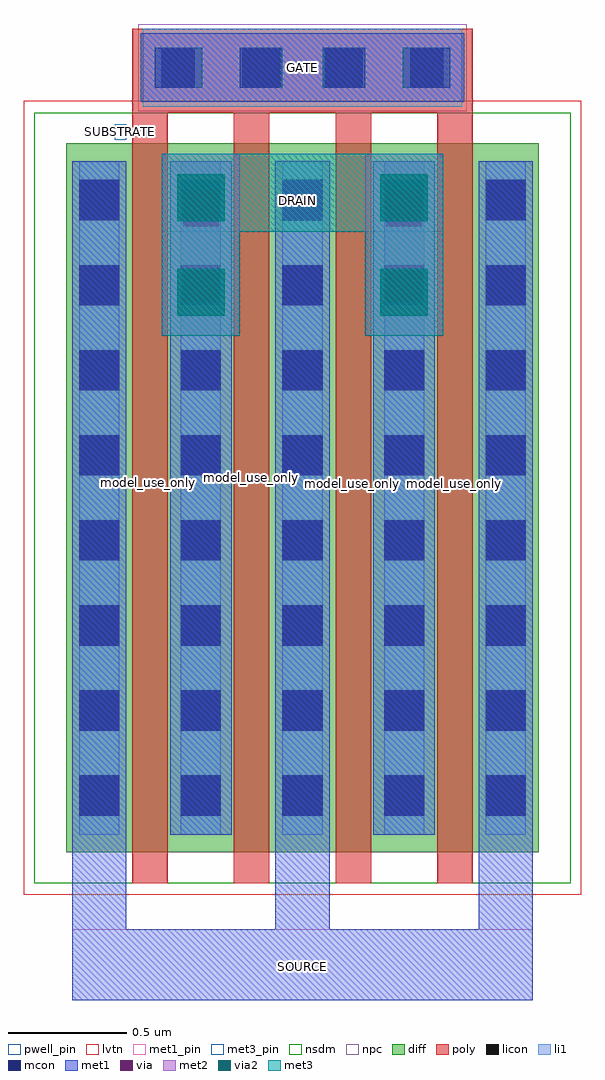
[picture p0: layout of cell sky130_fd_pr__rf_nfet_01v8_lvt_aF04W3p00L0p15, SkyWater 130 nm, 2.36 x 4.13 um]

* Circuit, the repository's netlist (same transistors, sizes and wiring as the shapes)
* Copyright 2020 The SkyWater PDK Authors
*
* Licensed under the Apache License, Version 2.0 (the "License");
* you may not use this file except in compliance with the License.
* You may obtain a copy of the License at
*
*     https://www.apache.org/licenses/LICENSE-2.0
*
* Unless required by applicable law or agreed to in writing, software
* distributed under the License is distributed on an "AS IS" BASIS,
* WITHOUT WARRANTIES OR CONDITIONS OF ANY KIND, either express or implied.
* See the License for the specific language governing permissions and
* limitations under the License.
*
* SPDX-License-Identifier: Apache-2.0


.subckt sky130_fd_pr__rf_nfet_01v8_lvt_aF04W3p00L0p15 DRAIN GATE SOURCE SUBSTRATE
X0 SOURCE GATE DRAIN SUBSTRATE sky130_fd_pr__nfet_01v8_lvt w=3e+06u l=150000u
X1 DRAIN GATE SOURCE SUBSTRATE sky130_fd_pr__nfet_01v8_lvt w=3e+06u l=150000u
X2 DRAIN GATE SOURCE SUBSTRATE sky130_fd_pr__nfet_01v8_lvt w=3e+06u l=150000u
X3 SOURCE GATE DRAIN SUBSTRATE sky130_fd_pr__nfet_01v8_lvt w=3e+06u l=150000u
.ends

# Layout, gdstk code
import gdstk
lib = gdstk.Library(unit=1e-6, precision=1e-09)
def R(c, l, rs):  # rectangles x0, y0, x1, y1
    for r in rs: c.add(gdstk.rectangle(r[:2], r[2:], *l))
def A(c, l, x, y, w, h, nx, ny, dx, dy):  # array of equal rectangles
    R(c, l, [(x+i*dx, y+j*dy, x+i*dx+w, y+j*dy+h) for i in range(nx) for j in range(ny)])
diff = (65, 20)
poly = (66, 20)
licon = (66, 44)
li1 = (67, 20)
mcon = (67, 44)
met1_pin = (68, 16)
met1 = (68, 20)
via = (68, 44)
met2 = (69, 20)
via2 = (69, 44)
met3_pin = (70, 16)
met3 = (70, 20)
nsdm = (93, 44)
npc = (95, 20)
pwell_pin = (122, 16)
lvtn = (125, 44)

sky130_fd_pr__rf_nfet_01 = lib.new_cell('sky130_fd_pr__rf_nfet_01v8_lvt_aF04W3p00L0p15')
A(sky130_fd_pr__rf_nfet_01, diff, 0.18, 0.18, 0.28, 3, 5, 1, 0.43, 0)
A(sky130_fd_pr__rf_nfet_01, diff, 0.46, 0.18, 0.15, 3, 4, 1, 0.43, 0)
R(sky130_fd_pr__rf_nfet_01, diff, [(0.21,0.18,0.46,3.18), (1.9,0.18,2.15,3.18)])
A(sky130_fd_pr__rf_nfet_01, poly, 0.46, 0.05, 0.15, 3.26, 4, 1, 0.43, 0)
A(sky130_fd_pr__rf_nfet_01, poly, 0.46, 0.05, 0.15, 0.13, 4, 2, 0.43, 3.13)
R(sky130_fd_pr__rf_nfet_01, poly, [(0.46,3.31,1.9,3.665), (0.505,3.335,1.855,3.665)])
A(sky130_fd_pr__rf_nfet_01, licon, 0.235, 0.335, 0.17, 0.17, 5, 8, 0.43, 0.36)
A(sky130_fd_pr__rf_nfet_01, licon, 0.585, 3.415, 0.17, 0.17, 4, 1, 0.34, 0)
A(sky130_fd_pr__rf_nfet_01, li1, 0.235, 0.255, 0.17, 2.85, 5, 1, 0.43, 0)
R(sky130_fd_pr__rf_nfet_01, li1, [(0.505,3.335,1.855,3.665), (0.555,3.415,1.805,3.585)])
A(sky130_fd_pr__rf_nfet_01, mcon, 0.235, 0.335, 0.17, 0.17, 5, 8, 0.43, 0.36)
A(sky130_fd_pr__rf_nfet_01, mcon, 0.555, 3.415, 0.17, 0.17, 4, 1, 0.36, 0)
R(sky130_fd_pr__rf_nfet_01, met1_pin, [(0.205,-0.445,2.155,-0.145), (0.495,3.355,1.865,3.645)])
R(sky130_fd_pr__rf_nfet_01, met1, [(0.62,2.42,0.88,3.07), (1.48,2.42,1.74,3.07), (0.495,3.355,1.865,3.645)])
R(sky130_fd_pr__rf_nfet_01, via, [(0.675,2.51,0.825,2.66), (1.535,2.51,1.685,2.66), (0.675,2.83,0.825,2.98), (1.535,2.83,1.685,2.98)])
R(sky130_fd_pr__rf_nfet_01, met2, [(0.585,2.365,0.915,3.135), (1.445,2.365,1.775,3.135), (0.62,2.425,0.88,3.065), (1.48,2.425,1.74,3.065)])
R(sky130_fd_pr__rf_nfet_01, via2, [(0.65,2.45,0.85,2.65), (1.51,2.45,1.71,2.65), (0.65,2.85,0.85,3.05), (1.51,2.85,1.71,3.05)])
R(sky130_fd_pr__rf_nfet_01, met3_pin, [(0.585,2.805,1.775,3.135)])
R(sky130_fd_pr__rf_nfet_01, met3, [(0.585,2.365,0.915,3.135), (1.445,2.365,1.775,3.135)])
A(sky130_fd_pr__rf_nfet_01, nsdm, 0.21, 0.05, 0.4, 3.26, 3, 1, 0.43, 0)
A(sky130_fd_pr__rf_nfet_01, nsdm, 0.48, 0.05, 0.54, 3.26, 3, 1, 0.43, 0)
R(sky130_fd_pr__rf_nfet_01, nsdm, [(0.045,0.05,0.59,3.31), (1.5,0.05,2.15,3.31), (1.77,0.05,2.315,3.31)])
R(sky130_fd_pr__rf_nfet_01, npc, [(0.485,3.315,1.875,3.685)])
R(sky130_fd_pr__rf_nfet_01, pwell_pin, [(0.385,3.195,0.435,3.26)])
R(sky130_fd_pr__rf_nfet_01, lvtn, [(0,0,2.36,3.36)])
sky130_fd_pr__rf_nfet_01.add(gdstk.FlexPath([(0.585,2.97),(1.775,2.97)], 0.33, ends="flush", simple_path=True, layer=70, datatype=20))  # met3
sky130_fd_pr__rf_nfet_01.add(gdstk.FlexPath([(0.205,-0.295),(2.155,-0.295)], 0.3, ends="flush", simple_path=True, layer=68, datatype=20))  # met1
sky130_fd_pr__rf_nfet_01.add(gdstk.FlexPath([(1.61,3.105),(1.61,0.255)], 0.26, ends="flush", simple_path=True, layer=68, datatype=20))  # met1
sky130_fd_pr__rf_nfet_01.add(gdstk.FlexPath([(0.75,3.105),(0.75,0.255)], 0.26, ends="flush", simple_path=True, layer=68, datatype=20))  # met1
sky130_fd_pr__rf_nfet_01.add(gdstk.FlexPath([(2.04,3.105),(2.04,-0.445)], 0.23, ends="flush", simple_path=True, layer=68, datatype=20))  # met1
sky130_fd_pr__rf_nfet_01.add(gdstk.FlexPath([(1.18,3.105),(1.18,-0.445)], 0.23, ends="flush", simple_path=True, layer=68, datatype=20))  # met1
sky130_fd_pr__rf_nfet_01.add(gdstk.FlexPath([(0.32,3.105),(0.32,-0.445)], 0.23, ends="flush", simple_path=True, layer=68, datatype=20))  # met1
sky130_fd_pr__rf_nfet_01.add(gdstk.Label('model_use_only', (0.965,1.765), layer=66, texttype=83))
sky130_fd_pr__rf_nfet_01.add(gdstk.Label('model_use_only', (0.53,1.745), layer=66, texttype=83))
sky130_fd_pr__rf_nfet_01.add(gdstk.Label('model_use_only', (1.39,1.74), layer=66, texttype=83))
sky130_fd_pr__rf_nfet_01.add(gdstk.Label('model_use_only', (1.825,1.74), layer=66, texttype=83))
sky130_fd_pr__rf_nfet_01.add(gdstk.Label('DRAIN', (1.16,2.94), layer=70, texttype=16))
sky130_fd_pr__rf_nfet_01.add(gdstk.Label('SOURCE', (1.18,-0.305), layer=68, texttype=16))
sky130_fd_pr__rf_nfet_01.add(gdstk.Label('GATE', (1.18,3.5), layer=68, texttype=16))
sky130_fd_pr__rf_nfet_01.add(gdstk.Label('SUBSTRATE', (0.41,3.23), layer=64, texttype=59))

lib.write_gds('sky130_fd_pr__rf_nfet_01v8_lvt_aF04W3p00L0p15.gds')
